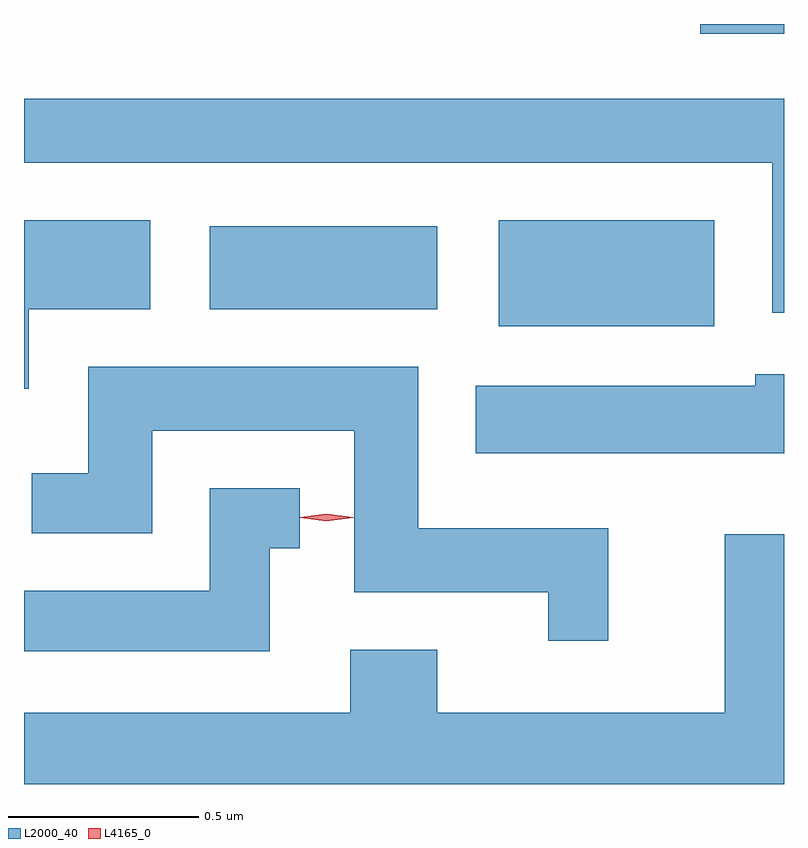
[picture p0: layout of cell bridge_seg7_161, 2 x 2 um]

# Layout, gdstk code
import gdstk
lib = gdstk.Library(unit=1e-6, precision=1e-09)
def R(c, l, rs):  # rectangles x0, y0, x1, y1
    for r in rs: c.add(gdstk.rectangle(r[:2], r[2:], *l))
def P(c, l, *ps):  # polygons
    for p in ps: c.add(gdstk.Polygon(p, *l))
L2000_40 = (2000, 40)
L4165_0 = (4165, 0)

bridge_seg7_161 = lib.new_cell('bridge_seg7_161')
R(bridge_seg7_161, L2000_40, [(1629.471,1728.921,1630.039,1729.199), (1628.711,1728.966,1629.309,1729.184), (1630.001,1729.691,1630.222,1729.716)])
P(bridge_seg7_161, L2000_40, [(1630.222,1729.519),(1628.222,1729.519),(1628.222,1729.351),(1630.191,1729.351),(1630.191,1728.956),(1630.222,1728.956)],
  [(1628.234,1728.966),(1628.554,1728.966),(1628.554,1729.199),(1628.222,1729.199),(1628.222,1728.756),(1628.234,1728.756)],
  [(1629.759,1728.389),(1629.259,1728.389),(1629.259,1728.814),(1628.391,1728.814),(1628.391,1728.534),(1628.243,1728.534),(1628.243,1728.376),(1628.559,1728.376),(1628.559,1728.646),(1629.091,1728.646),(1629.091,1728.221),(1629.601,1728.221),(1629.601,1728.093),(1629.759,1728.093)],
  [(1630.222,1728.794),(1630.146,1728.794),(1630.146,1728.764),(1629.411,1728.764),(1629.411,1728.586),(1630.222,1728.586)],
  [(1628.869,1728.336),(1628.948,1728.336),(1628.948,1728.494),(1628.711,1728.494),(1628.711,1728.224),(1628.222,1728.224),(1628.222,1728.066),(1628.869,1728.066)],
  [(1630.222,1728.373),(1630.066,1728.373),(1630.066,1727.904),(1629.309,1727.904),(1629.309,1728.069),(1629.081,1728.069),(1629.081,1727.904),(1628.222,1727.904),(1628.222,1727.716),(1630.222,1727.716)])
P(bridge_seg7_161, L4165_0, [(1629.018,1728.407),(1628.949,1728.417),(1628.949,1728.417),(1628.949,1728.418),(1629.018,1728.427),(1629.088,1728.418),(1629.088,1728.418),(1629.088,1728.417)])

lib.write_gds('bridge_seg7_161.gds')
